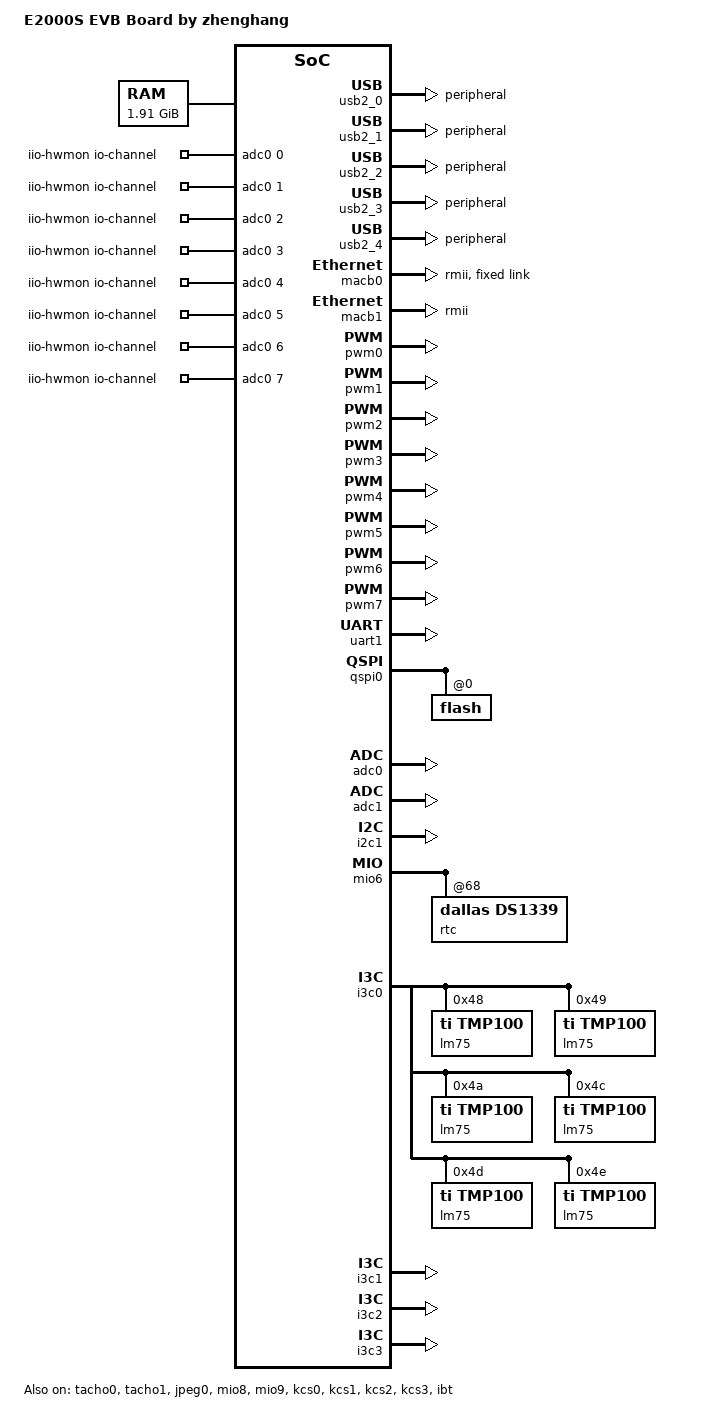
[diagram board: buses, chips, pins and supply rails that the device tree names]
// SPDX-License-Identifier: GPL-2.0
/*
 * DTS file for Phytium E2000S test board
 *
 * Copyright (C) 2022, Phytium Technology Co., Ltd.
 */

/dts-v1/;
/memreserve/ 0x80000000 0x10000;

#include "e2000s.dtsi"

/{
	model = "E2000S EVB Board by zhenghang";
	compatible = "phytium,e2000s";

	chosen {
		stdout-path = "serial1:115200n8";
	};

	memory@00{
		device_type = "memory";
		reg = <0x0 0x80000000 0x0 0x7a000000>;
	};

        iio-hwmon {
                compatible = "iio-hwmon";
                io-channels = <&adc0 0>, <&adc0 1>, <&adc0 2>, <&adc0 3>,
                        <&adc0 4>, <&adc0 5>, <&adc0 6>, <&adc0 7>, <&adc1 0> ;
        };
};



&usb2_0 {
	dr_mode = "peripheral";
	status = "okay";
};

&usb2_1 {
	dr_mode = "peripheral";
	status = "okay";
};

&usb2_2 {
	dr_mode = "peripheral";
	status = "okay";
};

&usb2_3 {
	dr_mode = "peripheral";
	status = "okay";
};

&usb2_4 {
	dr_mode = "peripheral";
	status = "okay";
};

&macb0 {
	phy-mode = "rmii";
	use-mii;
	use-ncsi;
	status = "okay";
	fixed-link {
		speed = <100>;
		full-duplex;
	};
};

&macb1 {
	phy-mode = "rmii";
	use-mii;
	status = "okay";
};

&pwm0 {
	phytium,db = <0 0 0 0 0 0>;
	status = "okay";
};

&pwm1 {
	phytium,db = <0 0 0 1000 1000 0>;
	status = "okay";
};

&pwm2 {
	phytium,db = <0 0 0 1000 1000 1>;
	status = "okay";
};

&pwm3 {
	phytium,db = <0 0 0 1000 1000 2>;
	status = "okay";
};

&pwm4 {
	phytium,db = <0 0 0 0 0 0>;
	status = "okay";
};

&pwm5 {
	phytium,db = <0 0 0 0 0 0>;
	status = "okay";
};

&pwm6 {
	phytium,db = <0 0 0 0 0 0>;
	status = "okay";
};

&pwm7 {
	phytium,db = <0 0 0 0 0 0>;
	status = "okay";
};

&tacho0 {
	status = "okay";
};

&tacho1 {
	status = "okay";
};


&uart1 {
	status = "okay";
};


&gpio0 {
	status = "okay";
};

&gpio1 {
	status = "okay";
};

&gpio2 {
	status = "okay";
};

&gpio3 {
	status = "okay";
};

&gpio4 {
	status = "okay";
};

&gpio5 {
	status = "okay";
};

&qspi0 {
	status = "okay";
	flash@0 {
		#include "openbmc-e2000-flash-layout.dtsi"
	};
};

&jpeg0 {
	status = "okay";
};

&adc0 {
       status = "okay";
};

&adc1 {
        status = "okay";
};

&i2c1 {
        status = "okay";
};
&mio6 {
        status = "okay";
	rtc@68 {
		compatible = "dallas,ds1339";
		reg = <0x68>;
	};
};

&mio8 {
        status = "okay";
};

&mio9 {
        status = "okay";
};

&i3c0 {
        status = "okay";
	lm75@48 {
		compatible = "ti,tmp100";
		reg = <0x48 0x0 0x50>;
	};
        lm75@49 {
                compatible = "ti,tmp100";
                reg = <0x49 0x0 0x50>;
        };
        lm75@4a {
                compatible = "ti,tmp100";
                reg = <0x4a 0x0 0x50>;
        };
        lm75@4c {
                compatible = "ti,tmp100";
                reg = <0x4c 0x0 0x50>;
        };
        lm75@4d {
                compatible = "ti,tmp100";
                reg = <0x4d 0x0 0x50>;
        };
        lm75@4e {
                compatible = "ti,tmp100";
                reg = <0x4e 0x0 0x50>;
        };
};

&i3c1 {
        status = "okay";
};

&i3c2 {
        status = "okay";
};

&i3c3 {
        status = "okay";
};

&kcs0 {
        kcs_chan = <1>;
        kcs_addr = <0xca0>;
        status = "okay";
};
&kcs1 {
        kcs_chan = <2>;
        kcs_addr = <0xca8>;
        status = "okay";
};
&kcs2 {
        kcs_chan = <3>;
        kcs_addr = <0xcb2>;
        status = "okay";
};
&kcs3 {
        kcs_chan = <4>;
        kcs_addr = <0xcb0>;
        status = "okay";
};
&ibt {
        status = "okay";
};


